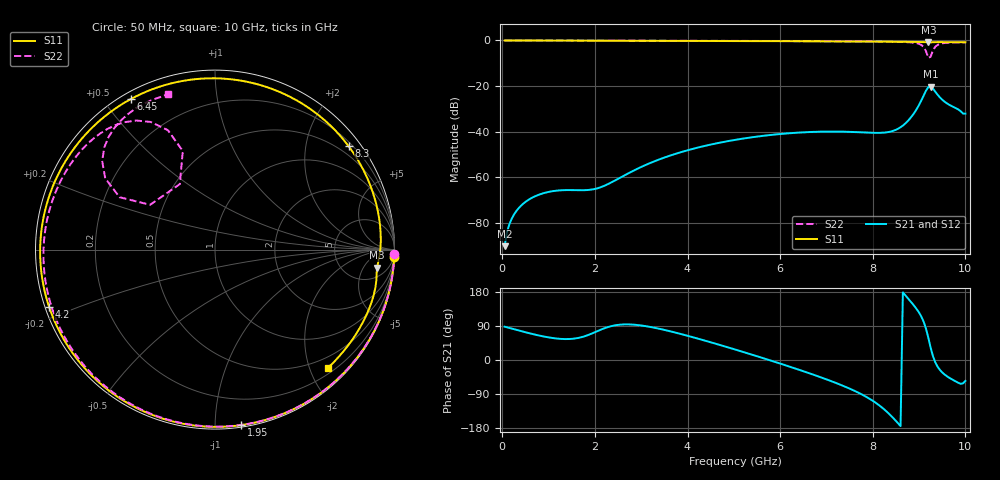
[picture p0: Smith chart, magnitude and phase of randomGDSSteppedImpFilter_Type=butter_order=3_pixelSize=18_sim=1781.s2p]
! freq	dB(S11)	phase(S11)	dB(S12)	phase(S12)
!  dB(S21)	phase(S21)	dB(S22)	phase(S22)
!S-par simulation data
#  GHz  S  DB  R 50
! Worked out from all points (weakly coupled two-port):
!   200 points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, 50 MHz to 10 GHz, reference 50 ohm
!   highest |S21| = -20.23 dB at 9.25 GHz (marker M1); lowest = -90.3 dB at 50 MHz (marker M2)
!   lowest |S11| = -0.8 dB at 9.2 GHz (marker M3), VSWR 20.94, Z = 448 - j517 ohm
!   |S11| at or under -10 dB: nowhere
!   |S22| runs from -7.7 to 0.0 dB; largest |S21 - S12| = 0
!   S11 on the Smith chart (normalised r, x): 50 MHz: 1, -51; 1.95 GHz: 0.01, -1.16; 4.2 GHz: 0.01, -0.17; 6.45 GHz: 0.03, +0.59; 8.3 GHz: 0.29, +2.90; 10 GHz: 0.30, -2.31
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0.05  -0.01 -2.2  -90.32 87.9  -90.32 87.9  -0.00 -1.3
0.15  -0.01 -6.6  -80.86 84.6  -80.86 84.6  -0.01 -4.0
0.75  -0.04 -32.7  -68.03 65.8  -68.03 65.8  -0.02 -19.6
1.75  -0.09 -73.7  -65.76 61.5  -65.76 61.5  -0.06 -45.1
1.95  -0.10 -81.5  -65.40 70.7  -65.40 70.7  -0.06 -50.1
2.65  -0.13 -107.6  -59.10 94.0  -59.10 94.0  -0.09 -67.2
3.4  -0.16 -133.9  -52.15 82.2  -52.15 82.2  -0.11 -85.0
4.2  -0.19 -160.9  -47.14 57.2  -47.14 57.2  -0.14 -103.5
5.05  -0.24 170.3  -43.57 26.9  -43.57 26.9  -0.19 -122.8
6.45  -0.35 119.2  -40.39 -27.5  -40.39 -27.5  -0.29 -155.2
6.7  -0.37 109.2  -40.15 -37.9  -40.15 -37.9  -0.31 -161.2
7.5  -0.44 75.1  -40.13 -75.5  -40.13 -75.5  -0.40 178.3
8.3  -0.52 37.7  -40.34 -136.1  -40.34 -136.1  -0.54 154.4
8.35  -0.53 35.3  -40.17 -141.8  -40.17 -141.8  -0.55 152.8
8.7  -0.59 18.1  -36.50 171.3  -36.50 171.3  -0.72 139.3
9  -0.68 3.1  -28.27 124.9  -28.27 124.9  -1.49 121.4
9.1  -0.75 -1.9  -24.13 100.7  -24.13 100.7  -2.91 111.5
9.2  -0.83 -6.3  -20.48 58.5  -20.48 58.5  -7.65 118.2
9.25  -0.82 -8.4  -20.23 32.2  -20.23 32.2  -7.14 145.4
9.4  -0.73 -15.8  -23.84 -17.7  -23.84 -17.7  -1.94 141.8
9.65  -0.75 -28.6  -28.23 -46.8  -28.23 -46.8  -0.96 123.6
10  -0.80 -46.2  -32.13 -55.1  -32.13 -55.1  -0.86 106.8
